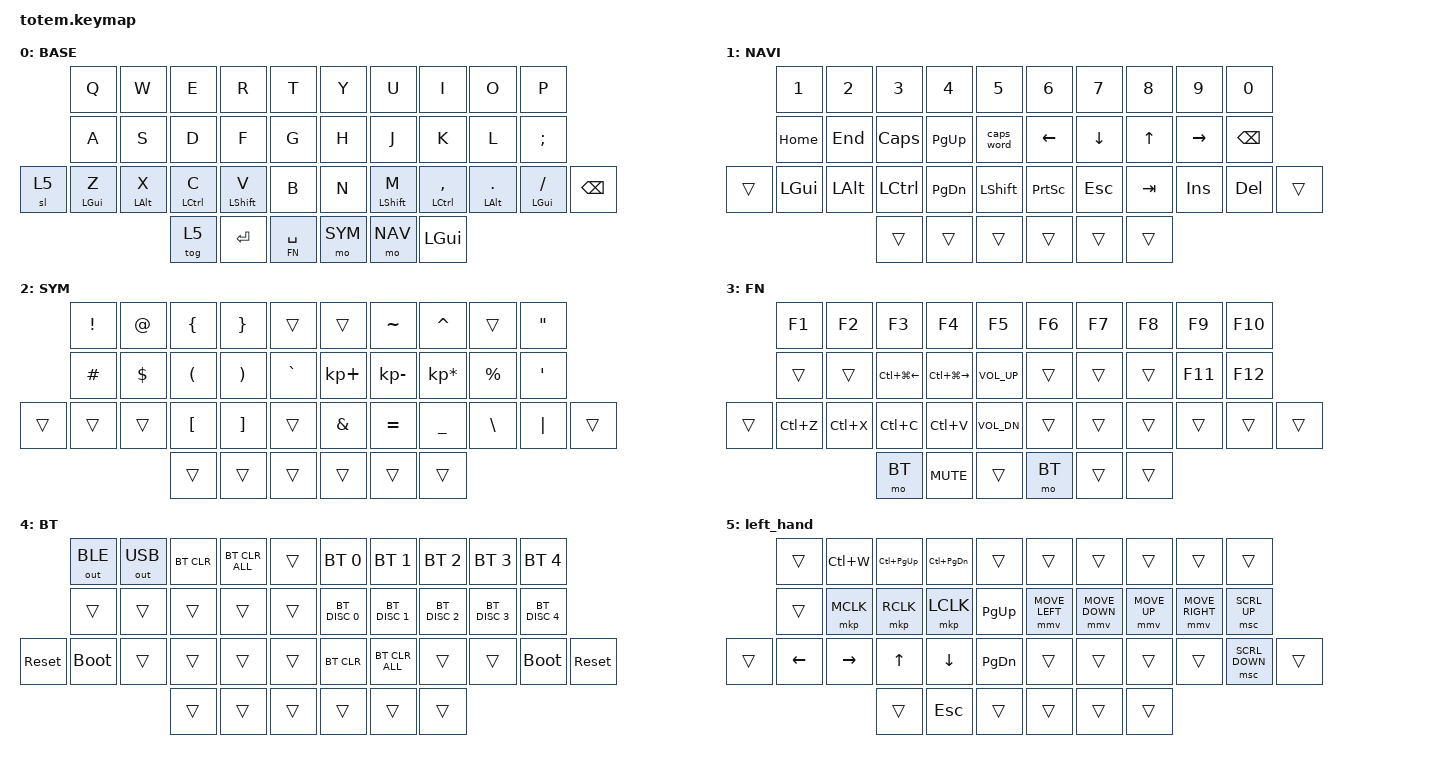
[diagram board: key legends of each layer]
#include <behaviors.dtsi>
#include <dt-bindings/zmk/bt.h>
#include <dt-bindings/zmk/keys.h>
#include <dt-bindings/zmk/outputs.h>
#include <dt-bindings/zmk/pointing.h>

#define BASE 0
#define NAV  1
#define SYM  2
#define FN   3
#define BT   4

&mt {
    quick-tap-ms = <175>;
    flavor = "balanced";
    tapping-term-ms = <200>;
    require-prior-idle-ms = <50>;
    hold-trigger-on-release;
    hold-trigger-key-positions = <21 22 23 24 27 29 28 30>;
};

/ {
    combos {
        compatible = "zmk,combos";

        personal-email {
            bindings = <&pem>;
            key-positions = <2 3 6>;
        };

        work-email {
            bindings = <&wem>;
            key-positions = <1 2 6>;
        };
    };

    macros {
        pem: personalEmail {
            compatible = "zmk,behavior-macro";
            #binding-cells = <0>;
            bindings = <&none &kp B &kp R &kp I &kp A &kp N &kp Y &kp U &kp N0 &kp N7 &kp N1 &kp N7 &kp AT &kp M &kp S &kp N &kp DOT &kp C &kp O &kp M>;
            label = "PERSONALEMAIL";
        };

        wem: wem {
            compatible = "zmk,behavior-macro";
            #binding-cells = <0>;
            bindings = <&none &kp B &kp R &kp I &kp A &kp N &kp DOT &kp Y &kp U &kp AT &kp T &kp R &kp O &kp W &kp E &kp P &kp R &kp I &kp C &kp E &kp DOT &kp C &kp O &kp M>;
            label = "WEM";
        };
    };

    keymap {
        compatible = "zmk,keymap";

        base_layer {
            label = "BASE";
            bindings = <
            &kp Q       &kp W       &kp E            &kp R        &kp T           &kp Y    &kp U        &kp I            &kp O         &kp P
            &kp A       &kp S       &kp D            &kp F        &kp G           &kp H    &kp J        &kp K            &kp L         &kp SEMI
&sl 5       &mt LGUI Z  &mt LALT X  &mt LCTRL C      &mt LSHFT V  &kp B           &kp N    &mt LSHFT M  &mt LCTRL COMMA  &mt LALT DOT  &mt LGUI FSLH  &kp BSPC
                                    &tog 5           &kp ENTER    &lt FN SPACE    &mo SYM  &mo NAV      &kp LGUI
            >;
        };

        nav_layer {
            label = "NAVI";
            bindings = <
        &kp N1    &kp N2    &kp N3     &kp N4     &kp N5        &kp N6     &kp N7    &kp N8   &kp N9     &kp N0
        &kp HOME  &kp END   &kp CAPS   &kp PG_UP  &caps_word    &kp LEFT   &kp DOWN  &kp UP   &kp RIGHT  &kp BSPC
&trans  &kp LGUI  &kp LALT  &kp LCTRL  &kp PG_DN  &kp LSHFT     &kp PSCRN  &kp ESC   &kp TAB  &kp INS    &kp DEL   &trans
                            &trans     &trans     &trans        &trans     &trans    &trans
            >;
        };

        sym_layer {
            label = "SYM";
            bindings = <
        &kp EXCL  &kp AT    &kp LBRC  &kp RBRC  &trans       &trans       &kp TILDE     &kp CARET        &trans     &kp DQT
        &kp HASH  &kp DLLR  &kp LPAR  &kp RPAR  &kp GRAVE    &kp KP_PLUS  &kp KP_MINUS  &kp KP_ASTERISK  &kp PRCNT  &kp SQT
&trans  &trans    &trans    &kp LBKT  &kp RBKT  &trans       &kp AMPS     &kp EQUAL     &kp UNDER        &kp BSLH   &kp PIPE  &trans
                            &trans    &trans    &trans       &trans       &trans        &trans
            >;
        };

        fn_layer {
            label = "FN";
            bindings = <
        &kp F1     &kp F2     &kp F3            &kp F4             &kp F5          &kp F6  &kp F7  &kp F8  &kp F9   &kp F10
        &trans     &trans     &kp LC(LG(LEFT))  &kp LC(LG(RIGHT))  &kp C_VOL_UP    &trans  &trans  &trans  &kp F11  &kp F12
&trans  &kp LC(Z)  &kp LC(X)  &kp LC(C)         &kp LC(V)          &kp C_VOL_DN    &trans  &trans  &trans  &trans   &trans   &trans
                              &mo BT            &kp C_MUTE         &trans          &mo BT  &trans  &trans
            >;
        };

        bt_layer {
            label = "BT";
            bindings = <
            &out OUT_BLE  &out OUT_USB  &bt BT_CLR     &bt BT_CLR_ALL  &trans    &bt BT_SEL 0   &bt BT_SEL 1    &bt BT_SEL 2   &bt BT_SEL 3   &bt BT_SEL 4
            &trans        &trans        &trans         &trans          &trans    &bt BT_DISC 0  &bt BT_DISC 1   &bt BT_DISC 2  &bt BT_DISC 3  &bt BT_DISC 4
&sys_reset  &bootloader   &trans        &trans         &trans          &trans    &bt BT_CLR     &bt BT_CLR_ALL  &trans         &trans         &bootloader     &sys_reset
                                        &trans         &trans          &trans    &trans         &trans          &trans
            >;
        };

        left_hand {
            bindings = <
        &trans    &kp LC(W)  &kp LC(PG_UP)  &kp LC(PG_DN)  &trans       &trans          &trans          &trans        &trans           &trans
        &trans    &mkp MCLK  &mkp RCLK      &mkp LCLK      &kp PG_UP    &mmv MOVE_LEFT  &mmv MOVE_DOWN  &mmv MOVE_UP  &mmv MOVE_RIGHT  &msc SCRL_UP
&trans  &kp LEFT  &kp RIGHT  &kp UP         &kp DOWN       &kp PG_DN    &trans          &trans          &trans        &trans           &msc SCRL_DOWN  &trans
                             &trans         &kp ESC        &trans       &trans          &trans          &trans
            >;
        };
    };
};
